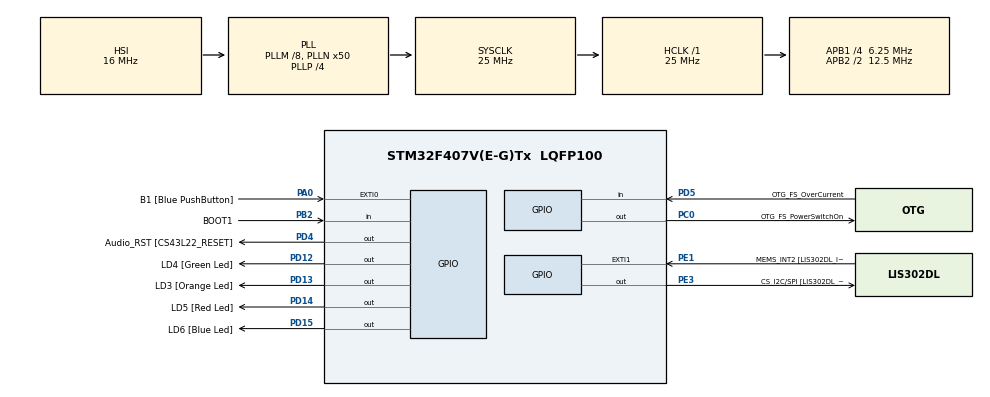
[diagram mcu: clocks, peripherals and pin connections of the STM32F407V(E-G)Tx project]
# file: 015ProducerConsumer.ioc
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Mcu.Family=STM32F4
Mcu.Name=STM32F407V(E-G)Tx
Mcu.Package=LQFP100
NVIC.PriorityGroup=NVIC_PRIORITYGROUP_0
NVIC.TIM6_DAC_IRQn=true\:0\:0\:false\:false\:true\:false\:true\:true
NVIC.TimeBase=TIM6_DAC_IRQn
NVIC.TimeBaseIP=TIM6
PA0-WKUP.GPIO_Label=B1 [Blue PushButton]
PA0-WKUP.Signal=GPXTI0
PA10.GPIO_Label=OTG_FS_ID
PA10.GPIO_Mode=GPIO_MODE_AF_PP
PA10.GPIO_PuPd=GPIO_NOPULL
PA10.GPIO_Speed=GPIO_SPEED_FREQ_LOW
PA10.Signal=USB_OTG_FS_ID
PA11.GPIO_Label=OTG_FS_DM
PA11.GPIO_Mode=GPIO_MODE_AF_PP
PA11.GPIO_PuPd=GPIO_NOPULL
PA11.GPIO_Speed=GPIO_SPEED_FREQ_LOW
PA11.Signal=USB_OTG_FS_DM
PA12.GPIO_Label=OTG_FS_DP
PA12.GPIO_Mode=GPIO_MODE_AF_PP
PA12.GPIO_PuPd=GPIO_NOPULL
PA12.GPIO_Speed=GPIO_SPEED_FREQ_LOW
PA12.Signal=USB_OTG_FS_DP
PA13.GPIO_Label=SWDIO
PA13.Signal=SYS_JTMS-SWDIO
PA14.GPIO_Label=SWCLK
PA14.Signal=SYS_JTCK-SWCLK
PA4.GPIO_Label=I2S3_WS [CS43L22_LRCK]
PA4.GPIO_Mode=GPIO_MODE_AF_PP
PA4.GPIO_PuPd=GPIO_NOPULL
PA4.GPIO_Speed=GPIO_SPEED_FREQ_LOW
PA4.Signal=I2S3_WS
PA5.GPIO_Label=SPI1_SCK [LIS302DL_SCL/SPC]
PA5.GPIO_Mode=GPIO_MODE_AF_PP
PA5.GPIO_PuPd=GPIO_NOPULL
PA5.GPIO_Speed=GPIO_SPEED_FREQ_LOW
PA5.Signal=SPI1_SCK
PA6.GPIO_Label=SPI1_MISO [LIS302DL_SDO]
PA6.GPIO_Mode=GPIO_MODE_AF_PP
PA6.GPIO_PuPd=GPIO_NOPULL
PA6.GPIO_Speed=GPIO_SPEED_FREQ_LOW
PA6.Signal=SPI1_MISO
PA7.GPIO_Label=SPI1_MOSI [LIS302DL_SDA/SDI/SDO]
PA7.GPIO_Mode=GPIO_MODE_AF_PP
PA7.GPIO_PuPd=GPIO_NOPULL
PA7.GPIO_Speed=GPIO_SPEED_FREQ_LOW
PA7.Signal=SPI1_MOSI
PA9.GPIO_Label=VBUS_FS
PA9.GPIO_Mode=GPIO_MODE_INPUT
PA9.GPIO_PuPd=GPIO_NOPULL
PA9.Signal=USB_OTG_FS_VBUS
PB10.GPIO_Label=CLK_IN [MP45DT02_CLK]
PB10.GPIO_Mode=GPIO_MODE_AF_PP
PB10.GPIO_PuPd=GPIO_NOPULL
PB10.GPIO_Speed=GPIO_SPEED_FREQ_LOW
PB10.Signal=I2S2_CK
PB2.GPIO_Label=BOOT1
PB2.GPIO_Mode=GPIO_MODE_INPUT
PB2.GPIO_PuPd=GPIO_NOPULL
PB2.Signal=GPIO_Input
PB3.GPIO_Label=SWO
PB3.Signal=SYS_JTDO-SWO
PB6.GPIO_Label=Audio_SCL [CS43L22_SCL]
PB6.GPIO_Mode=GPIO_MODE_AF_OD
PB6.GPIO_PuPd=GPIO_NOPULL
PB6.GPIO_Speed=GPIO_SPEED_FREQ_LOW
PB6.Signal=I2C1_SCL
PB9.GPIO_Label=Audio_SDA [CS43L22_SDA]
PB9.GPIO_Mode=GPIO_MODE_AF_OD
PB9.GPIO_PuPd=GPIO_NOPULL
PB9.GPIO_Speed=GPIO_SPEED_FREQ_LOW
PB9.Signal=I2C1_SDA
PC0.GPIO_Label=OTG_FS_PowerSwitchOn
PC0.GPIO_PuPd=GPIO_NOPULL
PC0.GPIO_Speed=GPIO_SPEED_FREQ_LOW
PC0.PinState=GPIO_PIN_SET
PC0.Signal=GPIO_Output
PC10.GPIO_Label=I2S3_SCK [CS43L22_SCLK]
PC10.GPIO_Mode=GPIO_MODE_AF_PP
PC10.GPIO_PuPd=GPIO_NOPULL
PC10.GPIO_Speed=GPIO_SPEED_FREQ_LOW
PC10.Signal=I2S3_CK
PC12.GPIO_Label=I2S3_SD [CS43L22_SDIN]
PC12.GPIO_Mode=GPIO_MODE_AF_PP
PC12.GPIO_PuPd=GPIO_NOPULL
PC12.GPIO_Speed=GPIO_SPEED_FREQ_LOW
PC12.Signal=I2S3_SD
PC14-OSC32_IN.GPIO_Label=PC14-OSC32_IN
PC14-OSC32_IN.Signal=RCC_OSC32_IN
PC15-OSC32_OUT.GPIO_Label=PC15-OSC32_OUT
PC15-OSC32_OUT.Signal=RCC_OSC32_OUT
PC3.GPIO_Label=PDM_OUT [MP45DT02_DOUT]
PC3.GPIO_Mode=GPIO_MODE_AF_PP
PC3.GPIO_PuPd=GPIO_NOPULL
PC3.GPIO_Speed=GPIO_SPEED_FREQ_LOW
PC3.Signal=I2S2_SD
PC7.GPIO_Label=I2S3_MCK [CS43L22_MCLK]
PC7.GPIO_Mode=GPIO_MODE_AF_PP
PC7.GPIO_PuPd=GPIO_NOPULL
PC7.GPIO_Speed=GPIO_SPEED_FREQ_LOW
PC7.Signal=I2S3_MCK
PD12.GPIO_Label=LD4 [Green Led]
PD12.GPIO_PuPd=GPIO_NOPULL
PD12.GPIO_Speed=GPIO_SPEED_FREQ_LOW
PD12.Signal=GPIO_Output
PD13.GPIO_Label=LD3 [Orange Led]
PD13.GPIO_PuPd=GPIO_NOPULL
PD13.GPIO_Speed=GPIO_SPEED_FREQ_LOW
PD13.Signal=GPIO_Output
PD14.GPIO_Label=LD5 [Red Led]
PD14.GPIO_PuPd=GPIO_NOPULL
PD14.GPIO_Speed=GPIO_SPEED_FREQ_LOW
PD14.Signal=GPIO_Output
PD15.GPIO_Label=LD6 [Blue Led]
PD15.GPIO_PuPd=GPIO_NOPULL
PD15.GPIO_Speed=GPIO_SPEED_FREQ_LOW
PD15.Signal=GPIO_Output
PD4.GPIO_Label=Audio_RST [CS43L22_RESET]
PD4.GPIO_PuPd=GPIO_NOPULL
PD4.GPIO_Speed=GPIO_SPEED_FREQ_LOW
PD4.Signal=GPIO_Output
PD5.GPIO_Label=OTG_FS_OverCurrent
PD5.GPIO_Mode=GPIO_MODE_INPUT
PD5.GPIO_PuPd=GPIO_NOPULL
PD5.Signal=GPIO_Input
PE1.GPIO_Label=MEMS_INT2 [LIS302DL_INT2]
PE1.GPIO_ModeDefaultEXTI=GPIO_MODE_EVT_RISING
PE1.GPIO_PuPd=GPIO_NOPULL
PE1.Signal=GPXTI1
PE3.GPIO_Label=CS_I2C/SPI [LIS302DL_CS_I2C/SPI]
PE3.GPIO_PuPd=GPIO_NOPULL
PE3.GPIO_Speed=GPIO_SPEED_FREQ_LOW
PE3.Signal=GPIO_Output
PH0-OSC_IN.GPIO_Label=PH0-OSC_IN
PH0-OSC_IN.Signal=RCC_OSC_IN
PH1-OSC_OUT.GPIO_Label=PH1-OSC_OUT
PH1-OSC_OUT.Signal=RCC_OSC_OUT
ProjectManager.HeapSize=0x200
ProjectManager.StackSize=0x400
ProjectManager.TargetToolchain=STM32CubeIDE
RCC.48MHZClocksFreq_Value=14285714.285714285
RCC.AHBFreq_Value=25000000
RCC.APB1CLKDivider=RCC_HCLK_DIV4
RCC.APB1Freq_Value=6250000
RCC.APB1TimFreq_Value=12500000
RCC.APB2CLKDivider=RCC_HCLK_DIV2
RCC.APB2Freq_Value=12500000
RCC.APB2TimFreq_Value=25000000
RCC.CortexFreq_Value=25000000
RCC.HCLKFreq_Value=25000000
RCC.HSE_VALUE=8000000
RCC.HSI_VALUE=16000000
RCC.LSE_VALUE=32768
RCC.PLLM=8
RCC.PLLN=50
RCC.PLLP=RCC_PLLP_DIV4
RCC.PLLQ=7
RCC.SYSCLKFreq_VALUE=25000000
RCC.SYSCLKSource=RCC_SYSCLKSOURCE_PLLCLK
RCC.VCOOutputFreq_Value=100000000
VP_SYS_VS_tim6.Mode=TIM6
board=STM32F407G-DISC1

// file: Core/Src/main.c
/* USER CODE BEGIN Header */
/**
  ******************************************************************************
  * @file           : main.c
  * @brief          : Main program body
  ******************************************************************************
  * @attention
  *
  * Copyright (c) 2024 STMicroelectronics.
  * All rights reserved.
  *
  * This software is licensed under terms that can be found in the LICENSE file
  * in the root directory of this software component.
  * If no LICENSE file comes with this software, it is provided AS-IS.
  *
  ******************************************************************************
  */
/* USER CODE END Header */
#include "main.h"

/* USER CODE BEGIN Includes */
#include <stdint.h>
#include "FreeRTOS.h"
#include "task.h"
#include "semphr.h"
/* USER CODE END Includes */

/* USER CODE BEGIN PD */
#define DWT_CTRL				(*(volatile uint32_t *) 0xE0001000U)
#define SEM_TAKE_WAIT			portMAX_DELAY
/* USER CODE END PD */

/* USER CODE BEGIN PV */
TaskHandle_t task_handle_producer;
TaskHandle_t task_handle_consumer;

SemaphoreHandle_t ReadSemaphore = NULL;
SemaphoreHandle_t WriteSemaphore = NULL;

uint32_t shared_data = 0;

/* USER CODE END PV */

void SystemClock_Config(void);
static void MX_GPIO_Init(void);
/* USER CODE BEGIN PFP */
static void task_producer(void *params);
static void task_consumer(void *params);
/* USER CODE END PFP */

int main(void)
{
  /* USER CODE BEGIN 1 */
  BaseType_t status;

  /* USER CODE END 1 */

  /* MCU Configuration--------------------------------------------------------*/

  /* Reset of all peripherals, Initializes the Flash interface and the Systick. */
  HAL_Init();

  /* Configure the system clock */
  SystemClock_Config();

  /* Initialize all configured peripherals */
  MX_GPIO_Init();
  /* USER CODE BEGIN 2 */
  //Enable the DWT (Data Watch Point) Cycle Count Feature
  DWT_CTRL |= (1 << 0);

  //Enabling SEGGER SYSVIEW event tracing
  SEGGER_SYSVIEW_Conf();
  SEGGER_SYSVIEW_Start();

  status = xTaskCreate(task_producer,"producer",1024,NULL,2,&task_handle_producer);
  configASSERT(status == pdPASS);

  status = xTaskCreate(task_consumer,"consumer",1024,NULL,2,&task_handle_consumer);
  configASSERT(status == pdPASS);

  ReadSemaphore = xSemaphoreCreateBinary();
  configASSERT(ReadSemaphore != NULL);

  WriteSemaphore = xSemaphoreCreateBinary();
  configASSERT(WriteSemaphore != NULL);

  status = xSemaphoreGive(WriteSemaphore);
  configASSERT(status == pdPASS);

  vTaskStartScheduler();
  /* USER CODE END 2 */

  /* Infinite loop */
  while (1)
  {

  }
}

void SystemClock_Config(void)
{
  RCC_OscInitTypeDef RCC_OscInitStruct = {0};
  RCC_ClkInitTypeDef RCC_ClkInitStruct = {0};

  /** Configure the main internal regulator output voltage
  */
  __HAL_RCC_PWR_CLK_ENABLE();
  __HAL_PWR_VOLTAGESCALING_CONFIG(PWR_REGULATOR_VOLTAGE_SCALE1);

  /** Initializes the RCC Oscillators according to the specified parameters
  * in the RCC_OscInitTypeDef structure.
  */
  RCC_OscInitStruct.OscillatorType = RCC_OSCILLATORTYPE_HSI;
  RCC_OscInitStruct.HSIState = RCC_HSI_ON;
  RCC_OscInitStruct.HSICalibrationValue = RCC_HSICALIBRATION_DEFAULT;
  RCC_OscInitStruct.PLL.PLLState = RCC_PLL_ON;
  RCC_OscInitStruct.PLL.PLLSource = RCC_PLLSOURCE_HSI;
  RCC_OscInitStruct.PLL.PLLM = 8;
  RCC_OscInitStruct.PLL.PLLN = 50;
  RCC_OscInitStruct.PLL.PLLP = RCC_PLLP_DIV4;
  RCC_OscInitStruct.PLL.PLLQ = 7;
  if (HAL_RCC_OscConfig(&RCC_OscInitStruct) != HAL_OK)
  {
    Error_Handler();
  }

  /** Initializes the CPU, AHB and APB buses clocks
  */
  RCC_ClkInitStruct.ClockType = RCC_CLOCKTYPE_HCLK|RCC_CLOCKTYPE_SYSCLK
                              |RCC_CLOCKTYPE_PCLK1|RCC_CLOCKTYPE_PCLK2;
  RCC_ClkInitStruct.SYSCLKSource = RCC_SYSCLKSOURCE_PLLCLK;
  RCC_ClkInitStruct.AHBCLKDivider = RCC_SYSCLK_DIV1;
  RCC_ClkInitStruct.APB1CLKDivider = RCC_HCLK_DIV4;
  RCC_ClkInitStruct.APB2CLKDivider = RCC_HCLK_DIV2;

  if (HAL_RCC_ClockConfig(&RCC_ClkInitStruct, FLASH_LATENCY_0) != HAL_OK)
  {
    Error_Handler();
  }
}

static void MX_GPIO_Init(void)
{
  GPIO_InitTypeDef GPIO_InitStruct = {0};

  /* GPIO Ports Clock Enable */
  __HAL_RCC_GPIOE_CLK_ENABLE();
  __HAL_RCC_GPIOC_CLK_ENABLE();
  __HAL_RCC_GPIOH_CLK_ENABLE();
  __HAL_RCC_GPIOA_CLK_ENABLE();
  __HAL_RCC_GPIOB_CLK_ENABLE();
  __HAL_RCC_GPIOD_CLK_ENABLE();

  /*Configure GPIO pin Output Level */
  HAL_GPIO_WritePin(CS_I2C_SPI_GPIO_Port, CS_I2C_SPI_Pin, GPIO_PIN_RESET);

  /*Configure GPIO pin Output Level */
  HAL_GPIO_WritePin(OTG_FS_PowerSwitchOn_GPIO_Port, OTG_FS_PowerSwitchOn_Pin, GPIO_PIN_SET);

  /*Configure GPIO pin Output Level */
  HAL_GPIO_WritePin(GPIOD, LD4_Pin|LD3_Pin|LD5_Pin|LD6_Pin
                          |Audio_RST_Pin, GPIO_PIN_RESET);

  /*Configure GPIO pin : CS_I2C_SPI_Pin */
  GPIO_InitStruct.Pin = CS_I2C_SPI_Pin;
  GPIO_InitStruct.Mode = GPIO_MODE_OUTPUT_PP;
  GPIO_InitStruct.Pull = GPIO_NOPULL;
  GPIO_InitStruct.Speed = GPIO_SPEED_FREQ_LOW;
  HAL_GPIO_Init(CS_I2C_SPI_GPIO_Port, &GPIO_InitStruct);

  /*Configure GPIO pin : OTG_FS_PowerSwitchOn_Pin */
  GPIO_InitStruct.Pin = OTG_FS_PowerSwitchOn_Pin;
  GPIO_InitStruct.Mode = GPIO_MODE_OUTPUT_PP;
  GPIO_InitStruct.Pull = GPIO_NOPULL;
  GPIO_InitStruct.Speed = GPIO_SPEED_FREQ_LOW;
  HAL_GPIO_Init(OTG_FS_PowerSwitchOn_GPIO_Port, &GPIO_InitStruct);

  /*Configure GPIO pin : PDM_OUT_Pin */
  GPIO_InitStruct.Pin = PDM_OUT_Pin;
  GPIO_InitStruct.Mode = GPIO_MODE_AF_PP;
  GPIO_InitStruct.Pull = GPIO_NOPULL;
  GPIO_InitStruct.Speed = GPIO_SPEED_FREQ_LOW;
  GPIO_InitStruct.Alternate = GPIO_AF5_SPI2;
  HAL_GPIO_Init(PDM_OUT_GPIO_Port, &GPIO_InitStruct);

  /*Configure GPIO pin : B1_Pin */
  GPIO_InitStruct.Pin = B1_Pin;
  GPIO_InitStruct.Mode = GPIO_MODE_IT_RISING;
  GPIO_InitStruct.Pull = GPIO_NOPULL;
  HAL_GPIO_Init(B1_GPIO_Port, &GPIO_InitStruct);

  /*Configure GPIO pin : I2S3_WS_Pin */
  GPIO_InitStruct.Pin = I2S3_WS_Pin;
  GPIO_InitStruct.Mode = GPIO_MODE_AF_PP;
  GPIO_InitStruct.Pull = GPIO_NOPULL;
  GPIO_InitStruct.Speed = GPIO_SPEED_FREQ_LOW;
  GPIO_InitStruct.Alternate = GPIO_AF6_SPI3;
  HAL_GPIO_Init(I2S3_WS_GPIO_Port, &GPIO_InitStruct);

  /*Configure GPIO pins : SPI1_SCK_Pin SPI1_MISO_Pin SPI1_MOSI_Pin */
  GPIO_InitStruct.Pin = SPI1_SCK_Pin|SPI1_MISO_Pin|SPI1_MOSI_Pin;
  GPIO_InitStruct.Mode = GPIO_MODE_AF_PP;
  GPIO_InitStruct.Pull = GPIO_NOPULL;
  GPIO_InitStruct.Speed = GPIO_SPEED_FREQ_LOW;
  GPIO_InitStruct.Alternate = GPIO_AF5_SPI1;
  HAL_GPIO_Init(GPIOA, &GPIO_InitStruct);

  /*Configure GPIO pin : BOOT1_Pin */
  GPIO_InitStruct.Pin = BOOT1_Pin;
  GPIO_InitStruct.Mode = GPIO_MODE_INPUT;
  GPIO_InitStruct.Pull = GPIO_NOPULL;
  HAL_GPIO_Init(BOOT1_GPIO_Port, &GPIO_InitStruct);

  /*Configure GPIO pin : CLK_IN_Pin */
  GPIO_InitStruct.Pin = CLK_IN_Pin;
  GPIO_InitStruct.Mode = GPIO_MODE_AF_PP;
  GPIO_InitStruct.Pull = GPIO_NOPULL;
  GPIO_InitStruct.Speed = GPIO_SPEED_FREQ_LOW;
  GPIO_InitStruct.Alternate = GPIO_AF5_SPI2;
  HAL_GPIO_Init(CLK_IN_GPIO_Port, &GPIO_InitStruct);

  /*Configure GPIO pins : LD4_Pin LD3_Pin LD5_Pin LD6_Pin
                           Audio_RST_Pin */
  GPIO_InitStruct.Pin = LD4_Pin|LD3_Pin|LD5_Pin|LD6_Pin
                          |Audio_RST_Pin;
  GPIO_InitStruct.Mode = GPIO_MODE_OUTPUT_PP;
  GPIO_InitStruct.Pull = GPIO_NOPULL;
  GPIO_InitStruct.Speed = GPIO_SPEED_FREQ_LOW;
  HAL_GPIO_Init(GPIOD, &GPIO_InitStruct);

  /*Configure GPIO pins : I2S3_MCK_Pin I2S3_SCK_Pin I2S3_SD_Pin */
  GPIO_InitStruct.Pin = I2S3_MCK_Pin|I2S3_SCK_Pin|I2S3_SD_Pin;
  GPIO_InitStruct.Mode = GPIO_MODE_AF_PP;
  GPIO_InitStruct.Pull = GPIO_NOPULL;
  GPIO_InitStruct.Speed = GPIO_SPEED_FREQ_LOW;
  GPIO_InitStruct.Alternate = GPIO_AF6_SPI3;
  HAL_GPIO_Init(GPIOC, &GPIO_InitStruct);

  /*Configure GPIO pin : VBUS_FS_Pin */
  GPIO_InitStruct.Pin = VBUS_FS_Pin;
  GPIO_InitStruct.Mode = GPIO_MODE_INPUT;
  GPIO_InitStruct.Pull = GPIO_NOPULL;
  HAL_GPIO_Init(VBUS_FS_GPIO_Port, &GPIO_InitStruct);

  /*Configure GPIO pins : OTG_FS_ID_Pin OTG_FS_DM_Pin OTG_FS_DP_Pin */
  GPIO_InitStruct.Pin = OTG_FS_ID_Pin|OTG_FS_DM_Pin|OTG_FS_DP_Pin;
  GPIO_InitStruct.Mode = GPIO_MODE_AF_PP;
  GPIO_InitStruct.Pull = GPIO_NOPULL;
  GPIO_InitStruct.Speed = GPIO_SPEED_FREQ_LOW;
  GPIO_InitStruct.Alternate = GPIO_AF10_OTG_FS;
  HAL_GPIO_Init(GPIOA, &GPIO_InitStruct);

  /*Configure GPIO pin : OTG_FS_OverCurrent_Pin */
  GPIO_InitStruct.Pin = OTG_FS_OverCurrent_Pin;
  GPIO_InitStruct.Mode = GPIO_MODE_INPUT;
  GPIO_InitStruct.Pull = GPIO_NOPULL;
  HAL_GPIO_Init(OTG_FS_OverCurrent_GPIO_Port, &GPIO_InitStruct);

  /*Configure GPIO pins : Audio_SCL_Pin Audio_SDA_Pin */
  GPIO_InitStruct.Pin = Audio_SCL_Pin|Audio_SDA_Pin;
  GPIO_InitStruct.Mode = GPIO_MODE_AF_OD;
  GPIO_InitStruct.Pull = GPIO_NOPULL;
  GPIO_InitStruct.Speed = GPIO_SPEED_FREQ_LOW;
  GPIO_InitStruct.Alternate = GPIO_AF4_I2C1;
  HAL_GPIO_Init(GPIOB, &GPIO_InitStruct);

  /*Configure GPIO pin : MEMS_INT2_Pin */
  GPIO_InitStruct.Pin = MEMS_INT2_Pin;
  GPIO_InitStruct.Mode = GPIO_MODE_EVT_RISING;
  GPIO_InitStruct.Pull = GPIO_NOPULL;
  HAL_GPIO_Init(MEMS_INT2_GPIO_Port, &GPIO_InitStruct);

}

/* USER CODE BEGIN 4 */
static void task_producer(void *params)
{
	while(1)
	{
		if(xSemaphoreTake(WriteSemaphore,SEM_TAKE_WAIT) == pdTRUE)
		{
			shared_data++;
			SEGGER_SYSVIEW_PrintfHost("Producer: Shared Data Written. Value: %d",shared_data);
			xSemaphoreGive(ReadSemaphore);
		}
	}
}

static void task_consumer(void *params)
{
	while(1)
	{
		if(xSemaphoreTake(ReadSemaphore,SEM_TAKE_WAIT) == pdTRUE)
		{
			SEGGER_SYSVIEW_PrintfHost("Consumer: Shared Data Read. Value: %d",shared_data);
			xSemaphoreGive(WriteSemaphore);
		}
	}
}
/* USER CODE END 4 */

void HAL_TIM_PeriodElapsedCallback(TIM_HandleTypeDef *htim)
{
  if (htim->Instance == TIM6) {
    HAL_IncTick();
  }
}

void Error_Handler(void)
{
  __disable_irq();
  while (1)
  {
  }
}
